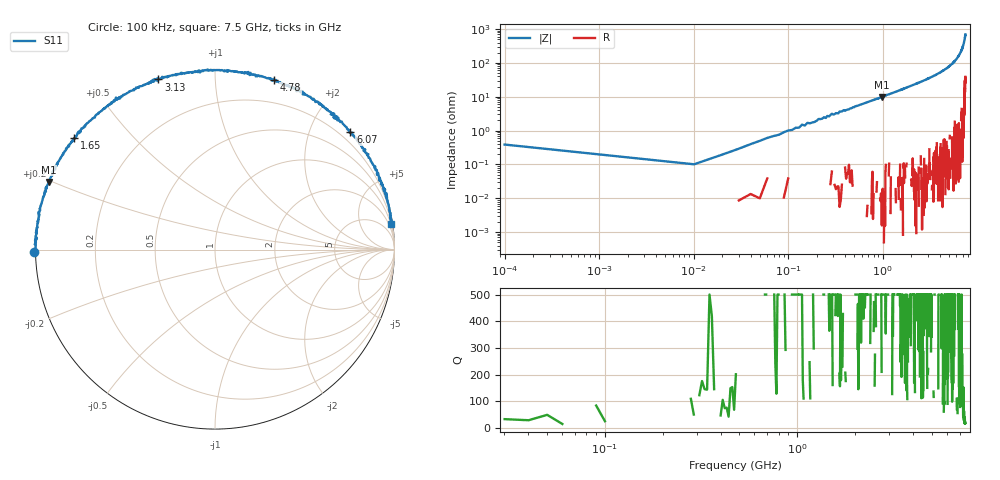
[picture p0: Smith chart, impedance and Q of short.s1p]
# Hz S RI R 50.000000
! FREQ  re:S1  1  im:S1  1
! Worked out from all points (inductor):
!   751 points, 100 kHz to 7.5 GHz, reference 50 ohm
!   read as one part to ground: L = 1.59 nH near 30.1 MHz
!   highest Q = 980 at 990.1 MHz (marker M1), where L = 1.58 nH
!   S11 on the Smith chart (normalised r, x): 100 kHz: -0.01, -0.01; 1.65 GHz: -0.00, +0.35; 3.13 GHz: 0.00, +0.72; 4.78 GHz: -0.00, +1.41; 6.07 GHz: 0.01, +2.68; 7.5 GHz: 1, +14
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100000  -1.01 -0.012
5.400928e8  -0.9776 0.2146
9.400875e8  -0.93 0.3666
9.900868e8  -0.9255 0.3775
1.290083e9  -0.8703 0.4932
1.650078e9  -0.7843 0.6228
1.880075e9  -0.7315 0.6843
2.440067e9  -0.5611 0.8251
2.820062e9  -0.4248 0.9014
3.130058e9  -0.315 0.948
3.440054e9  -0.1955 0.9805
3.75005e9  -0.0712 0.9984
3.810049e9  -0.0494 0.9984
4.140045e9  0.0807 0.9969
4.390041e9  0.1819 0.9799
4.690037e9  0.2981 0.956
4.780036e9  0.3295 0.9453
5.080032e9  0.4471 0.8979
5.180031e9  0.4773 0.877
5.630025e9  0.6218 0.7805
5.680024e9  0.6463 0.7642
6.070019e9  0.7539 0.6549
6.280016e9  0.8108 0.5867
6.570012e9  0.8696 0.4923
6.940007e9  0.925 0.3737
7.090005e9  0.9577 0.302
7.430001e9  0.9804 0.1742
7.5e9  0.9818 0.1421
